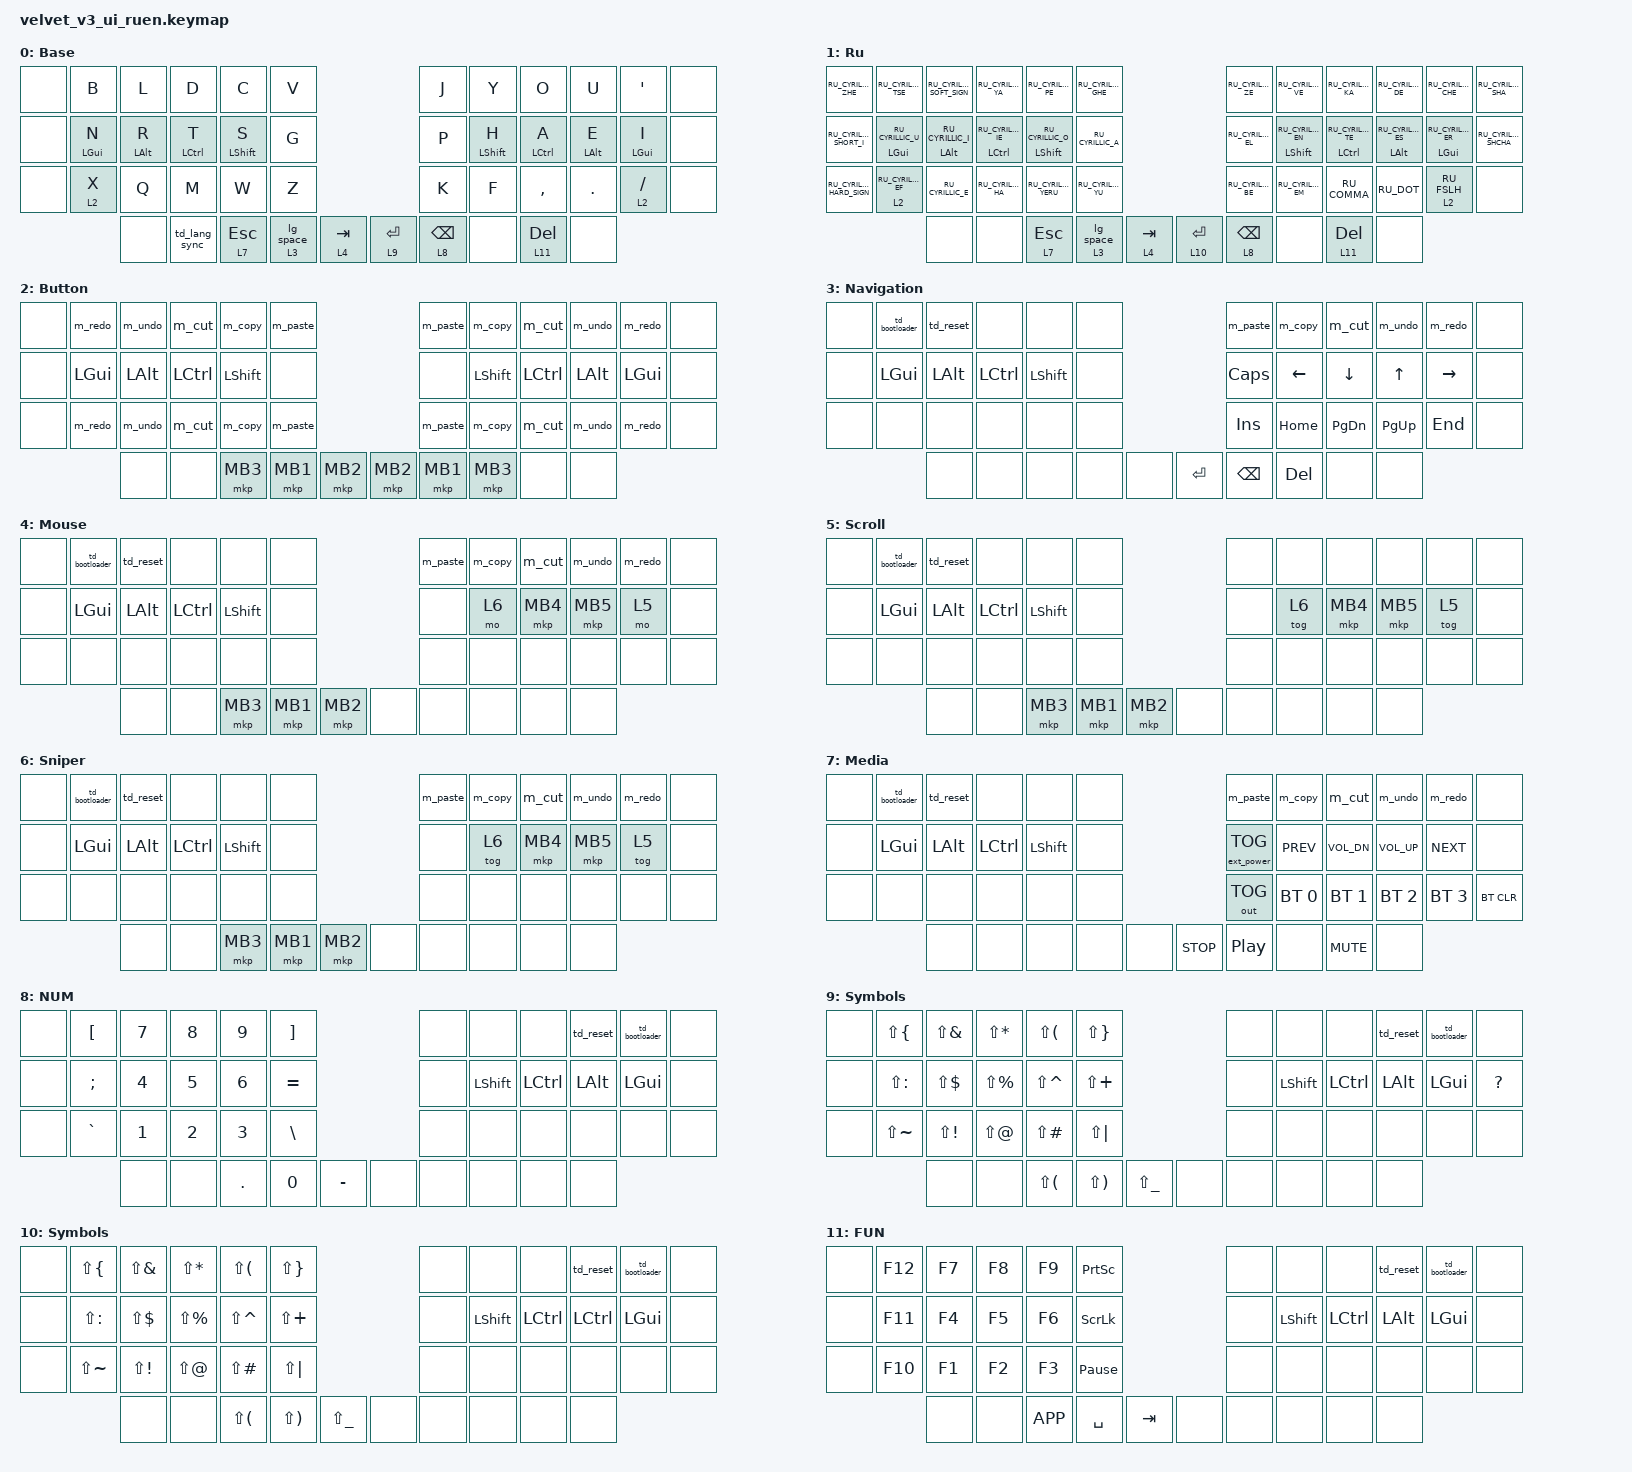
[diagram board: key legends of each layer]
#include "keys_ru.h"
#include <dt-bindings/zmk/input_transform.h>
#include <input/processors.dtsi>
#include <zephyr/dt-bindings/input/input-event-codes.h>
#include <behaviors.dtsi>
#include <dt-bindings/zmk/bt.h>
#include <dt-bindings/zmk/ext_power.h>
#include <dt-bindings/zmk/keys.h>
#include <dt-bindings/zmk/outputs.h>
#include <dt-bindings/zmk/pointing.h>

/ {
    behaviors {
        cap_sen: cap_sen {
            compatible = "zmk,behavior-hold-tap";
            label = "CAP_SEN";
            bindings = <&mo>, <&mkp>;

            #binding-cells = <2>;
            tapping-term-ms = <150>;
            hold-while-undecided;
        };

        mouse_layer: mouse_layer {
            compatible = "zmk,behavior-sticky-key";
            label = "MOUSE_LAYER";
            bindings = <&mo>;
            #binding-cells = <1>;
            release-after-ms = <200>;
        };

        td_reset: td_reset {
            compatible = "zmk,behavior-tap-dance";
            label = "TD_RESET";
            #binding-cells = <0>;
            bindings = <&none>, <&sys_reset>;
        };

        td_lang_sync: td_lang_sync {
            compatible = "zmk,behavior-tap-dance";
            label = "TD_LANG_SYNC";
            #binding-cells = <0>;
            bindings = <&none>, <&tog 1>;
        };

        td_lang_en: td_lang_en {
            compatible = "zmk,behavior-tap-dance";
            label = "TD_LANG_EN";
            #binding-cells = <0>;
            bindings = <&none>, <&to_en>;
        };

        lg_space: lg_space {
            compatible = "zmk,behavior-mod-morph";
            label = "LG_SPACE";
            bindings = <&kp SPACE>, <&lg_tog>;

            #binding-cells = <0>;
            mods = <(MOD_LGUI)>;
        };

        ht_space: ht_space {
            compatible = "zmk,behavior-hold-tap";
            label = "HT_SPACE";
            bindings = <&mo>, <&lg_space>;

            #binding-cells = <2>;
            flavor = "tap-preferred";
            tapping-term-ms = <200>;
        };

        td_bootloader: td_bootloader {
            compatible = "zmk,behavior-tap-dance";
            label = "TD_BOOTLOADER";
            #binding-cells = <0>;
            bindings = <&none>, <&bootloader>;
        };

        zip_auto_mouse: zip_auto_mouse {
            compatible = "zmk,input-processor-temp-layer";
            #input-processor-cells = <2>;
            require-prior-idle-ms = <800>;
            excluded-positions = <>;
        };
    };

    combos {
        compatible = "zmk,combos";

        cmben {
            bindings = <&layer_en>;
            key-positions = <3 4>;
            layers = <1>;
        };

        cmbru {
            bindings = <&layer_ru>;
            key-positions = <3 4>;
            layers = <0>;
        };
    };

    macros {
        to_ru: to_ru {
            compatible = "zmk,behavior-macro";
            #binding-cells = <0>;
            bindings = <&kp LG(SPACE)>;
            label = "TO_RU";
            wait-ms = <0>;
            tap-ms = <30>;
        };

        to_en: to_en {
            compatible = "zmk,behavior-macro";
            #binding-cells = <0>;
            bindings = <&kp LG(SPACE)>;
            label = "TO_EN";
            wait-ms = <0>;
            tap-ms = <30>;
        };

        layer_en: layer_en {
            compatible = "zmk,behavior-macro";
            #binding-cells = <0>;
            bindings = <&to 0 &to_en>;
            label = "LAYER_EN";
            wait-ms = <0>;
            tap-ms = <30>;
        };

        layer_ru: layer_ru {
            compatible = "zmk,behavior-macro";
            #binding-cells = <0>;
            bindings = <&to 1 &to_ru>;
            label = "LAYER_RU";
            tap-ms = <30>;
            wait-ms = <0>;
        };

        en: en {
            compatible = "zmk,behavior-macro-one-param";
            #binding-cells = <1>;
            bindings =
                <&to_en>,
                <&macro_press>,
                <&macro_param_1to1 &kp MACRO_PLACEHOLDER>,
                <&macro_pause_for_release>,
                <&macro_release>,
                <&macro_param_1to1 &kp MACRO_PLACEHOLDER>,
                <&macro_tap>,
                <&to_ru>;

            label = "EN";
            wait-ms = <0>;
            tap-ms = <30>;
        };

        lg_tog: lg_tog {
            compatible = "zmk,behavior-macro";
            #binding-cells = <0>;
            bindings = <&kp LG(SPACE) &tog 1>;
            label = "LG_TOG";
        };

        m_copy: m_copy {
            compatible = "zmk,behavior-macro";
            #binding-cells = <0>;
            bindings = <&kp LG(C)>;
            label = "M_COPY";
        };

        m_paste: m_paste {
            compatible = "zmk,behavior-macro";
            #binding-cells = <0>;
            bindings = <&kp LG(V)>;
            label = "M_PASTE";
        };

        m_cut: m_cut {
            compatible = "zmk,behavior-macro";
            #binding-cells = <0>;
            bindings = <&kp LG(X)>;
            label = "M_CUT";
        };

        m_undo: m_undo {
            compatible = "zmk,behavior-macro";
            #binding-cells = <0>;
            bindings = <&kp LG(Z)>;
            label = "M_UNDO";
        };

        m_redo: m_redo {
            compatible = "zmk,behavior-macro";
            #binding-cells = <0>;
            bindings = <&kp LG(LS(Z))>;
            label = "M_REDO";
        };
    };

    keymap {
        compatible = "zmk,keymap";

        en {
            bindings = <
&none  &kp B           &kp L           &kp D          &kp C         &kp V                                    &kp J            &kp Y             &kp O          &kp U           &kp SQT         &none
&none  &mt LEFT_GUI N  &mt LEFT_ALT R  &mt LCTRL T    &mt LSHIFT S  &kp G                                    &kp P            &mt LEFT_SHIFT H  &mt LCTRL A    &mt LEFT_ALT E  &mt LEFT_GUI I  &none
&none  &lt 2 X         &kp Q           &kp M          &kp W         &kp Z                                    &kp K            &kp F             &kp COMMA      &kp DOT         &lt 2 SLASH     &none
                       &none           &td_lang_sync  &lt 7 ESC     &ht_space 3 0  &lt 4 TAB    &lt 9 ENTER  &lt 8 BACKSPACE  &none             &lt 11 DELETE  &none
            >;

            display-name = "Base";
        };

        ru {
            display-name = "Ru";
            bindings = <
&kp RU_CYRILLIC_ZHE        &kp RU_CYRILLIC_TSE         &kp RU_CYRILLIC_SOFT_SIGN   &kp RU_CYRILLIC_YA        &kp RU_CYRILLIC_PE            &kp RU_CYRILLIC_GHE                             &kp RU_CYRILLIC_ZE  &kp RU_CYRILLIC_VE             &kp RU_CYRILLIC_KA        &kp RU_CYRILLIC_DE           &kp RU_CYRILLIC_CHE          &kp RU_CYRILLIC_SHA
&kp RU_CYRILLIC_SHORT_I    &mt LEFT_GUI RU_CYRILLIC_U  &mt LEFT_ALT RU_CYRILLIC_I  &mt LCTRL RU_CYRILLIC_IE  &mt LEFT_SHIFT RU_CYRILLIC_O  &kp RU_CYRILLIC_A                               &kp RU_CYRILLIC_EL  &mt LEFT_SHIFT RU_CYRILLIC_EN  &mt LCTRL RU_CYRILLIC_TE  &mt LEFT_ALT RU_CYRILLIC_ES  &mt LEFT_GUI RU_CYRILLIC_ER  &kp RU_CYRILLIC_SHCHA
&kp RU_CYRILLIC_HARD_SIGN  &lt 2 RU_CYRILLIC_EF        &kp RU_CYRILLIC_E           &kp RU_CYRILLIC_HA        &kp RU_CYRILLIC_YERU          &kp RU_CYRILLIC_YU                              &kp RU_CYRILLIC_BE  &kp RU_CYRILLIC_EM             &kp RU_COMMA              &kp RU_DOT                   &lt 2 RU_FSLH                &none
                                                       &none                       &none                     &lt 7 ESC                     &ht_space 3 0        &lt 4 TAB    &lt 10 ENTER  &lt 8 BACKSPACE     &none                          &lt 11 DELETE             &none
            >;
        };

        Button {
            bindings = <
&none  &m_redo       &m_undo   &m_cut     &m_copy    &m_paste                        &m_paste  &m_copy    &m_cut     &m_undo   &m_redo   &none
&none  &kp LEFT_GUI  &kp LALT  &kp LCTRL  &kp LSHFT  &none                           &none     &kp LSHFT  &kp LCTRL  &kp LALT  &kp LGUI  &none
&none  &m_redo       &m_undo   &m_cut     &m_copy    &m_paste                        &m_paste  &m_copy    &m_cut     &m_undo   &m_redo   &none
                     &none     &none      &mkp MB3   &mkp MB1  &mkp MB2    &mkp MB2  &mkp MB1  &mkp MB3   &none      &none
            >;
        };

        nav {
            bindings = <
&none  &td_bootloader  &td_reset     &none      &none           &none                      &m_paste       &m_copy     &m_cut         &m_undo      &m_redo    &none
&none  &kp LEFT_GUI    &kp LEFT_ALT  &kp LCTRL  &kp LEFT_SHIFT  &none                      &kp CAPS       &kp LEFT    &kp DOWN       &kp UP       &kp RIGHT  &none
&none  &none           &none         &none      &none           &none                      &kp INSERT     &kp HOME    &kp PAGE_DOWN  &kp PAGE_UP  &kp END    &none
                       &none         &none      &none           &none  &none    &kp ENTER  &kp BACKSPACE  &kp DELETE  &none          &none
            >;

            display-name = "Navigation";
        };

        mouse {
            bindings = <
&none  &td_bootloader  &td_reset  &none      &none      &none                        &m_paste  &m_copy  &m_cut    &m_undo   &m_redo  &none
&none  &kp LGUI        &kp LALT   &kp LCTRL  &kp LSHFT  &none                        &none     &mo 6    &mkp MB4  &mkp MB5  &mo 5    &none
&none  &none           &none      &none      &none      &none                        &none     &none    &none     &none     &none    &none
                       &none      &none      &mkp MB3   &mkp MB1  &mkp MB2    &none  &none     &none    &none     &none
            >;

            display-name = "Mouse";
        };

        scroll {
            bindings = <
&none  &td_bootloader  &td_reset  &none      &none      &none                        &none  &none   &none     &none     &none   &none
&none  &kp LGUI        &kp LALT   &kp LCTRL  &kp LSHFT  &none                        &none  &tog 6  &mkp MB4  &mkp MB5  &tog 5  &none
&none  &none           &none      &none      &none      &none                        &none  &none   &none     &none     &none   &none
                       &none      &none      &mkp MB3   &mkp MB1  &mkp MB2    &none  &none  &none   &none     &none
            >;

            display-name = "Scroll";
        };

        sniper {
            bindings = <
&none  &td_bootloader  &td_reset  &none      &none      &none                        &m_paste  &m_copy  &m_cut    &m_undo   &m_redo  &none
&none  &kp LGUI        &kp LALT   &kp LCTRL  &kp LSHFT  &none                        &none     &tog 6   &mkp MB4  &mkp MB5  &tog 5   &none
&none  &none           &none      &none      &none      &none                        &none     &none    &none     &none     &none    &none
                       &none      &none      &mkp MB3   &mkp MB1  &mkp MB2    &none  &none     &none    &none     &none
            >;

            display-name = "Sniper";
        };

        Media {
            bindings = <
&none  &td_bootloader  &td_reset  &none      &none      &none                       &m_paste           &m_copy       &m_cut        &m_undo          &m_redo       &none
&none  &kp LGUI        &kp LALT   &kp LCTRL  &kp LSHFT  &none                       &ext_power EP_TOG  &kp C_PREV    &kp C_VOL_DN  &kp C_VOLUME_UP  &kp C_NEXT    &none
&none  &none           &none      &none      &none      &none                       &out OUT_TOG       &bt BT_SEL 0  &bt BT_SEL 1  &bt BT_SEL 2     &bt BT_SEL 3  &bt BT_CLR
                       &none      &none      &none      &none  &none    &kp K_STOP  &kp C_PP           &none         &kp C_MUTE    &none
            >;
        };

        NUM {
            bindings = <
&none  &kp LBKT   &kp N7  &kp N8  &kp N9   &kp RBKT                       &none  &none      &none      &td_reset  &td_bootloader  &none
&none  &kp SEMI   &kp N4  &kp N5  &kp N6   &kp EQUAL                      &none  &kp LSHFT  &kp LCTRL  &kp LALT   &kp LGUI        &none
&none  &kp GRAVE  &kp N1  &kp N2  &kp N3   &kp BSLH                       &none  &none      &none      &none      &none           &none
                  &none   &none   &kp DOT  &kp N0     &kp MINUS    &none  &none  &none      &none      &none
            >;
        };

        sym_en {
            bindings = <
&none  &kp LS(LBRC)   &kp LS(AMPS)  &kp LS(STAR)   &kp LS(LPAR)   &kp LS(RBRC)                          &none  &none      &none      &td_reset  &td_bootloader  &none
&none  &kp LS(COLON)  &kp LS(DLLR)  &kp LS(PRCNT)  &kp LS(CARET)  &kp LS(PLUS)                          &none  &kp LSHFT  &kp LCTRL  &kp LALT   &kp LGUI        &kp QUESTION
&none  &kp LS(TILDE)  &kp LS(EXCL)  &kp LS(AT)     &kp LS(POUND)  &kp LS(PIPE)                          &none  &none      &none      &none      &none           &none
                      &none         &none          &kp LS(LPAR)   &kp LS(RPAR)  &kp LS(UNDER)    &none  &none  &none      &none      &none
            >;

            display-name = "Symbols";
        };

        sym_ru {
            display-name = "Symbols";
            bindings = <
&none  &kp LS(LBRC)   &kp LS(AMPS)  &kp LS(STAR)   &kp LS(LPAR)   &kp LS(RBRC)                          &none  &none      &none      &td_reset  &td_bootloader  &none
&none  &kp LS(COLON)  &kp LS(DLLR)  &kp LS(PRCNT)  &kp LS(CARET)  &kp LS(PLUS)                          &none  &kp LSHFT  &kp LCTRL  &kp LCTRL  &kp LGUI        &none
&none  &kp LS(TILDE)  &kp LS(EXCL)  &kp LS(AT)     &kp LS(POUND)  &kp LS(PIPE)                          &none  &none      &none      &none      &none           &none
                      &none         &none          &kp LS(LPAR)   &kp LS(RPAR)  &kp LS(UNDER)    &none  &none  &none      &none      &none
            >;
        };

        FUN {
            bindings = <
&none  &kp F12  &kp F7  &kp F8  &kp F9     &kp PRINTSCREEN                    &none  &none      &none      &td_reset  &td_bootloader  &none
&none  &kp F11  &kp F4  &kp F5  &kp F6     &kp SCROLLLOCK                     &none  &kp LSHFT  &kp LCTRL  &kp LALT   &kp LGUI        &none
&none  &kp F10  &kp F1  &kp F2  &kp F3     &kp PAUSE_BREAK                    &none  &none      &none      &none      &none           &none
                &none   &none   &kp K_APP  &kp SPACE        &kp TAB    &none  &none  &none      &none      &none
            >;
        };
    };
};

&mt {
    quick-tap-ms = <100>;
    global-quick-tap;
    flavor = "tap-preferred";
    tapping-term-ms = <170>;
};

&lt {
    quick-tap-ms = <100>;
    global-quick-tap;
    flavor = "tap-preferred";
    tapping-term-ms = <170>;
};

&trackball { cpi = <1000>; };

&trackball_listener {
    input-processors = <&zip_auto_mouse 4 500>, <&zip_xy_scaler 9 20>;

    scroller {
        layers = <5>;
        input-processors =
            <&zip_xy_transform INPUT_TRANSFORM_Y_INVERT>,
            <&zip_xy_scaler 1 64>,
            <&zip_xy_to_scroll_mapper>;
    };

    sniper {
        layers = <6>;
        input-processors = <&zip_xy_scaler 1 4>;
    };
};
